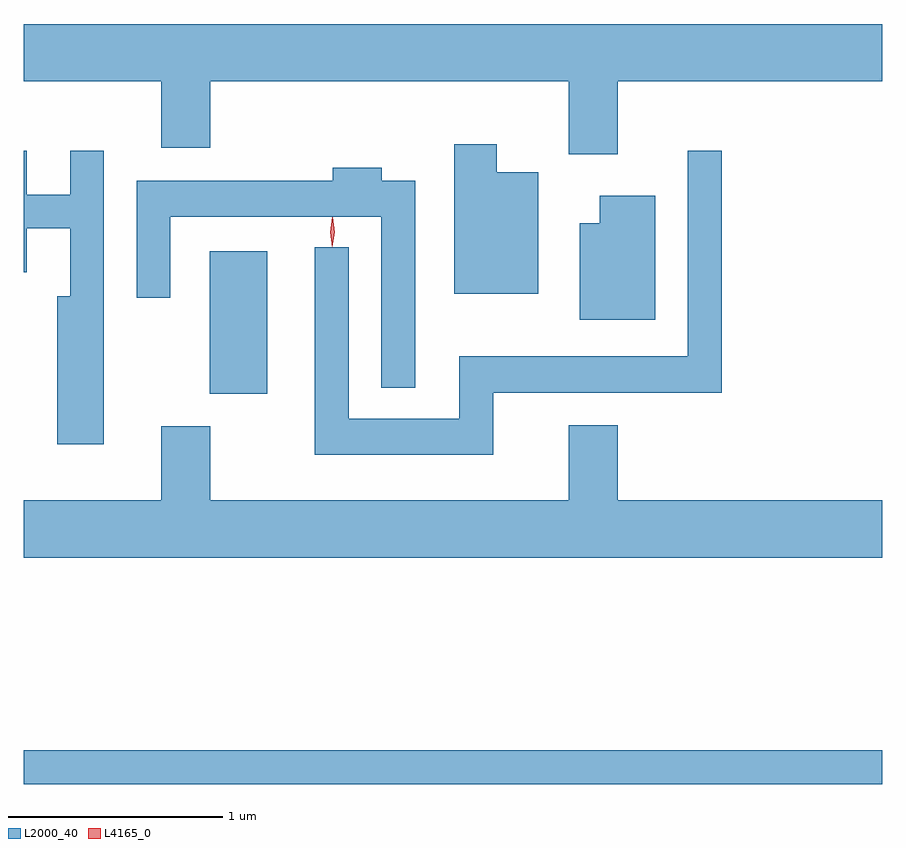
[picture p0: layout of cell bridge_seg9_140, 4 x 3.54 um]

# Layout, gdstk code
import gdstk
lib = gdstk.Library(unit=1e-6, precision=1e-09)
def R(c, l, rs):  # rectangles x0, y0, x1, y1
    for r in rs: c.add(gdstk.rectangle(r[:2], r[2:], *l))
def P(c, l, *ps):  # polygons
    for p in ps: c.add(gdstk.Polygon(p, *l))
L2000_40 = (2000, 40)
L4165_0 = (4165, 0)

bridge_seg9_140 = lib.new_cell('bridge_seg9_140')
R(bridge_seg9_140, L2000_40, [(1375.461,2077.341,1379.461,2077.499), (1376.326,2079.161,1376.594,2079.824)])
P(bridge_seg9_140, L2000_40, [(1378.229,2080.616),(1379.461,2080.616),(1379.461,2080.884),(1375.461,2080.884),(1375.461,2080.616),(1376.101,2080.616),(1376.101,2080.306),(1376.329,2080.306),(1376.329,2080.616),(1378.001,2080.616),(1378.001,2080.276),(1378.229,2080.276)],
  [(1377.859,2080.194),(1377.664,2080.194),(1377.664,2080.324),(1377.466,2080.324),(1377.466,2079.626),(1377.859,2079.626)],
  [(1375.834,2080.293),(1375.676,2080.293),(1375.676,2080.089),(1375.474,2080.089),(1375.474,2080.294),(1375.461,2080.294),(1375.461,2079.726),(1375.474,2079.726),(1375.474,2079.931),(1375.676,2079.931),(1375.676,2079.614),(1375.616,2079.614),(1375.616,2078.926),(1375.834,2078.926)],
  [(1377.649,2079.166),(1378.714,2079.166),(1378.714,2080.293),(1378.556,2080.293),(1378.556,2079.334),(1377.491,2079.334),(1377.491,2079.044),(1376.974,2079.044),(1376.974,2079.843),(1376.816,2079.843),(1376.816,2078.876),(1377.649,2078.876)],
  [(1377.284,2080.154),(1377.129,2080.154),(1377.129,2080.214),(1376.901,2080.214),(1376.901,2080.154),(1375.986,2080.154),(1375.986,2079.608),(1376.144,2079.608),(1376.144,2079.986),(1377.126,2079.986),(1377.126,2079.188),(1377.284,2079.188)],
  [(1378.404,2080.084),(1378.146,2080.084),(1378.146,2079.954),(1378.051,2079.954),(1378.051,2079.506),(1378.404,2079.506)],
  [(1379.461,2078.664),(1378.229,2078.664),(1378.229,2079.014),(1378.001,2079.014),(1378.001,2078.664),(1376.329,2078.664),(1376.329,2079.009),(1376.101,2079.009),(1376.101,2078.664),(1375.461,2078.664),(1375.461,2078.396),(1379.461,2078.396)])
P(bridge_seg9_140, L4165_0, [(1376.899,2079.843),(1376.898,2079.844),(1376.889,2079.913),(1376.899,2079.982),(1376.899,2079.983),(1376.9,2079.982),(1376.909,2079.913),(1376.899,2079.844)])

lib.write_gds('bridge_seg9_140.gds')
